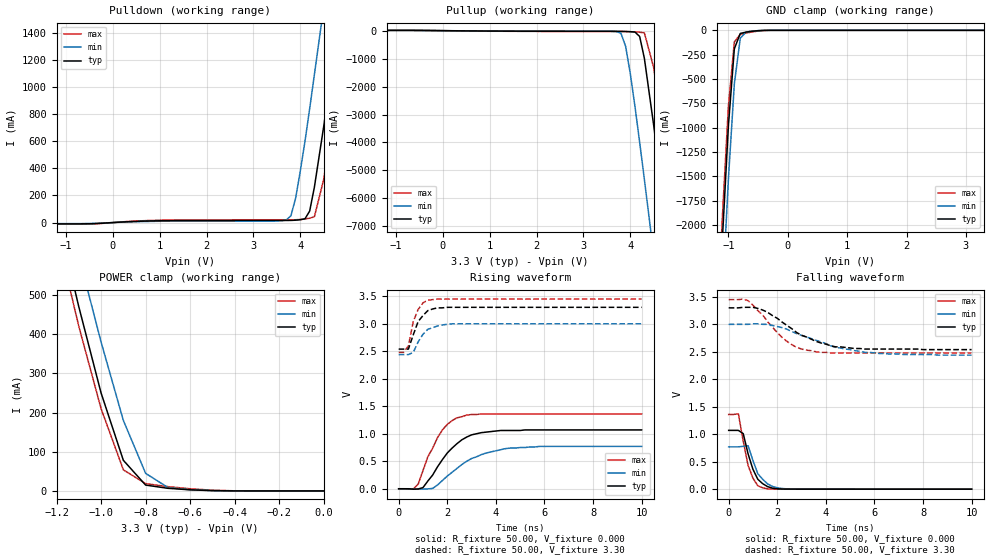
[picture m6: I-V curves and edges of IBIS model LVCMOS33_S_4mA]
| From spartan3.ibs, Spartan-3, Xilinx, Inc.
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|   Model LVCMOS33_S_4mA
[Model]   LVCMOS33_S_4mA
Model_type   I/O
Polarity   Non-Inverting
Enable   Active-Low
Vinl =   0.80V
Vinh =   2.00V
Vmeas =   1.65V
Cref =  0.000F
Rref =  1.00M
Vref =  0.000V
C_comp   6.38pF   4.60pF   8.23pF
[Temperature Range]   25.00   85.00   0.000
[Voltage Range]   3.30V   3.00V   3.45V
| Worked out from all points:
|   slope of the pulldown table from 0 to 0.495 V, typ, clamps not added: 57.6 ohm
|   slope of the pullup table from 0 to 0.495 V, typ, clamps not added: 62.3 ohm
|   GND clamp passes 1 mA (typ) near -0.41 V on its own axis
|   POWER clamp passes 1 mA (typ) near -0.52 V on its own axis
|   rising waveform, R_fixture 50.00, V_fixture 0.000: 20-80 % time 1.17ns typ, 1.57ns min, 883ps max; typ from 0 V to 1.07 V
|   rising waveform, R_fixture 50.00, V_fixture 3.30: 20-80 % time 479ps typ, 498ps min, 363ps max; typ from 2.54 V to 3.3 V
|   falling waveform, R_fixture 50.00, V_fixture 0.000: 20-80 % time 479ps typ, 533ps min, 425ps max; typ from 1.07 V to 0 V
|   falling waveform, R_fixture 50.00, V_fixture 3.30: 20-80 % time 1.74ns typ, 2.27ns min, 1.27ns max; typ from 3.3 V to 2.54 V
[Pulldown]
| voltage   I(typ)   I(min)   I(max)
-3.3V     -9.55mA    -7.61mA    -10.53mA
3.7V      15.62mA    18.58mA    20.23mA
3.8V      15.99mA    50.62mA    20.38mA
3.9V      17.53mA    180mA      20.81mA
4.1V      28.08mA    600mA      26.4mA
4.2V      85.1mA     840mA      32.16mA
4.3V      260mA      1.09A      43.35mA
4.5V      710mA      1.59A      320mA
4.7V      1.21A      2.1A       790mA
4.9V      1.72A      2.61A      1.29A
5.1V      2.23A      3.13A      1.8A
6.6V      6.17A      7.07A      5.73A
[Pullup]
| voltage   I(typ)   I(min)   I(max)
-3.3V     10.87mA    8.4mA      12.17mA
3.8V      -25.25mA   -92.81mA   -31.41mA
3.9V      -29.65mA   -560mA     -32.85mA
4V        -36.74mA   -1.54A     -37.73mA
4.1V      -50.22mA   -2.72A     -45.96mA
4.2V      -210mA     -4A        -56.47mA
4.3V      -990mA     -5.32A     -78.12mA
4.5V      -3.4A      -8.03A     -1.33A
4.7V      -6.08A     -10.8A     -3.83A
4.9V      -8.84A     -13.59A    -6.54A
5.1V      -11.63A    -16.41A    -9.31A
6.6V      -33A       -37.78A    -30.65A
[GND_clamp]
| voltage   I(typ)   I(min)   I(max)
-3.3V     -33A       -33.48A    -32.8A
-1.2V     -3.4A      -4A        -3.16A
-1.1V     -2.13A     -2.72A     -1.9A
-1V       -980mA     -1.53A     -780mA
-900mV    -190mA     -550mA     -120mA
-800mV    -31.95mA   -81.14mA   -40.65mA
-700mV    -17.68mA   -16.88mA   -27.48mA
-400mV    -680uA     -760uA     -2.23mA
3.3V      5.7nA      14.1uA     38.75nA
[POWER_clamp]
| voltage   I(typ)   I(min)   I(max)
-3.3V     6.17A      6.28A      6.12A
-1.2V     710mA      840mA      660mA
-1.1V     470mA      600mA      420mA
-1V       250mA      380mA      210mA
-900mV    78.2mA     180mA      53.88mA
-800mV    14.96mA    44.93mA    18.61mA
-700mV    6.69mA     8.78mA     10.98mA
-600mV    2.8mA      2.96mA     5.51mA
-400mV    81.6uA     140uA      290uA
0V        5.7nA      29.91nA    46.43nA
[Ramp]
| variable   typ   min   max
dV/dt_r   0.64/1.14n   0.46/1.60n   0.82/0.84n
dV/dt_f   0.45/1.72n   0.33/2.27n   0.58/1.21n
R_load = 50.00
[Rising Waveform]
R_fixture = 50.00
V_fixture = 0.000
| time   V(typ)   V(min)   V(max)
0s        0V         800nV      0V
600ps     -7.54mV    -3.56mV    -3.33mV
800ps     -4.5mV     -6.97mV    81.67mV
1ns       20.81mV    -4.04mV    330mV
1.6ns     400mV      68.17mV    930mV
2ns       650mV      230mV      1.17V
2.4ns     820mV      370mV      1.29V
3ns       980mV      550mV      1.35V
4.4ns     1.06V      730mV      1.36V
10ns      1.07V      770mV      1.36V
[Rising Waveform]
R_fixture = 50.00
V_fixture = 3.30
V_fixture_min = 3.00
V_fixture_max = 3.45
| time   V(typ)   V(min)   V(max)
0s        2.54V      2.44V      2.48V
200ps     2.54V      2.44V      2.48V
400ps     2.54V      2.44V      2.6V
600ps     2.8V       2.48V      3.04V
800ps     3.04V      2.67V      3.26V
1ns       3.15V      2.81V      3.38V
1.2ns     3.24V      2.9V       3.43V
1.6ns     3.29V      2.96V      3.45V
2.2ns     3.3V       3V         3.45V
10ns      3.3V       3V         3.45V
[Falling Waveform]
R_fixture = 50.00
V_fixture = 0.000
| time   V(typ)   V(min)   V(max)
0s        1.07V      770mV      1.36V
400ps     1.07V      770mV      1.37V
600ps     1.01V      780mV      870mV
800ps     640mV      790mV      430mV
1ns       360mV      520mV      200mV
1.2ns     180mV      280mV      61.6mV
1.4ns     100mV      180mV      24.82mV
1.8ns     18.45mV    50.85mV    1.82mV
2.4ns     1.31mV     5.61mV     460uV
10ns      0V         2.44uV     0V
[Falling Waveform]
R_fixture = 50.00
V_fixture = 3.30
V_fixture_min = 3.00
V_fixture_max = 3.45
| time   V(typ)   V(min)   V(max)
0s        3.3V       3V         3.45V
600ps     3.31V      3V         3.46V
800ps     3.31V      3V         3.43V
1.4ns     3.26V      3V         3.17V
2.2ns     3.04V      2.94V      2.76V
2.8ns     2.85V      2.83V      2.58V
3.2ns     2.77V      2.77V      2.53V
4.4ns     2.59V      2.58V      2.48V
5.6ns     2.55V      2.49V      2.48V
10ns      2.54V      2.44V      2.48V
